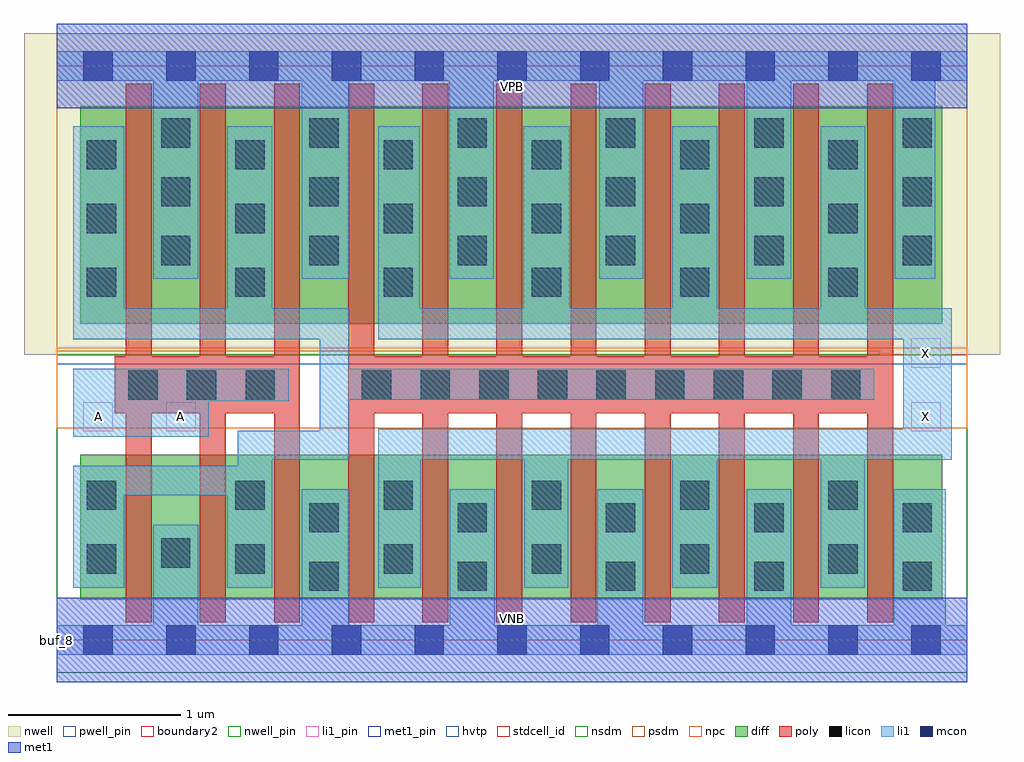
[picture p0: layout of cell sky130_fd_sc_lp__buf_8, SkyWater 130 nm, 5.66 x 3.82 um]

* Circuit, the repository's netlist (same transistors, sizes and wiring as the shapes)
* Copyright 2020 The SkyWater PDK Authors
*
* Licensed under the Apache License, Version 2.0 (the "License");
* you may not use this file except in compliance with the License.
* You may obtain a copy of the License at
*
*     https://www.apache.org/licenses/LICENSE-2.0
*
* Unless required by applicable law or agreed to in writing, software
* distributed under the License is distributed on an "AS IS" BASIS,
* WITHOUT WARRANTIES OR CONDITIONS OF ANY KIND, either express or implied.
* See the License for the specific language governing permissions and
* limitations under the License.
*
* SPDX-License-Identifier: Apache-2.0

.SUBCKT sky130_fd_sc_lp__buf_8 A VGND VNB VPB VPWR X
*.PININFO A:I VGND:I VNB:I VPB:I VPWR:I X:O
MMIN1 Ab A VGND VNB sky130_fd_pr__nfet_01v8 m=3 w=0.84U l=0.15U mult=1 sa=0.265
+ sb=0.265 sd=0.28 area=0.063 perim=1.14
MMIN2 X Ab VGND VNB sky130_fd_pr__nfet_01v8 m=8 w=0.84U l=0.15U mult=1 sa=0.265
+ sb=0.265 sd=0.28 area=0.063 perim=1.14
MMIP1 Ab A VPWR VPB sky130_fd_pr__pfet_01v8_hvt m=3 w=1.26U l=0.15U mult=1 sa=0.265
+ sb=0.265 sd=0.28 area=0.063 perim=1.14
MMIP2 X Ab VPWR VPB sky130_fd_pr__pfet_01v8_hvt m=8 w=1.26U l=0.15U mult=1 sa=0.265
+ sb=0.265 sd=0.28 area=0.063 perim=1.14
.ENDS sky130_fd_sc_lp__buf_8

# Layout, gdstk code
import gdstk
lib = gdstk.Library(unit=1e-6, precision=1e-09)
def R(c, l, rs):  # rectangles x0, y0, x1, y1
    for r in rs: c.add(gdstk.rectangle(r[:2], r[2:], *l))
def A(c, l, x, y, w, h, nx, ny, dx, dy):  # array of equal rectangles
    R(c, l, [(x+i*dx, y+j*dy, x+i*dx+w, y+j*dy+h) for i in range(nx) for j in range(ny)])
def P(c, l, *ps):  # polygons
    for p in ps: c.add(gdstk.Polygon(p, *l))
nwell_pin = (64, 16)
nwell = (64, 20)
diff = (65, 20)
poly = (66, 20)
licon = (66, 44)
li1_pin = (67, 16)
li1 = (67, 20)
mcon = (67, 44)
met1_pin = (68, 16)
met1 = (68, 20)
hvtp = (78, 44)
stdcell_id = (81, 4)
nsdm = (93, 44)
psdm = (94, 20)
npc = (95, 20)
pwell_pin = (122, 16)
boundary2 = (236, 0)

sky130_fd_sc_lp__buf_8 = lib.new_cell('sky130_fd_sc_lp__buf_8')
R(sky130_fd_sc_lp__buf_8, nwell_pin, [(0,3.085,5.28,3.33)])
R(sky130_fd_sc_lp__buf_8, nwell, [(-0.19,1.655,5.47,3.52)])
R(sky130_fd_sc_lp__buf_8, diff, [(0.135,0.235,5.135,1.075), (0.135,1.835,5.135,3.095)])
P(sky130_fd_sc_lp__buf_8, poly, [(1.41,3.225),(1.26,3.225),(1.26,1.645),(0.98,1.645),(0.98,3.225),(0.83,3.225),(0.83,1.645),(0.55,1.645),(0.55,3.225),(0.4,3.225),(0.4,1.645),(0.335,1.645),(0.335,1.315),(0.4,1.315),(0.4,0.105),(0.55,0.105),(0.55,1.315),(0.83,1.315),(0.83,0.105),(0.98,0.105),(0.98,1.315),(1.26,1.315),(1.26,0.105),(1.41,0.105)],
  [(4.85,3.225),(4.7,3.225),(4.7,1.645),(4.42,1.645),(4.42,3.225),(4.27,3.225),(4.27,1.645),(3.99,1.645),(3.99,3.225),(3.84,3.225),(3.84,1.645),(3.56,1.645),(3.56,3.225),(3.41,3.225),(3.41,1.645),(3.13,1.645),(3.13,3.225),(2.98,3.225),(2.98,1.645),(2.7,1.645),(2.7,3.225),(2.55,3.225),(2.55,1.645),(2.27,1.645),(2.27,3.225),(2.12,3.225),(2.12,1.645),(1.84,1.645),(1.84,3.225),(1.69,3.225),(1.69,0.105),(1.84,0.105),(1.84,1.315),(2.12,1.315),(2.12,0.105),(2.27,0.105),(2.27,1.315),(2.55,1.315),(2.55,0.105),(2.7,0.105),(2.7,1.315),(2.98,1.315),(2.98,0.105),(3.13,0.105),(3.13,1.315),(3.41,1.315),(3.41,0.105),(3.56,0.105),(3.56,1.315),(3.84,1.315),(3.84,0.105),(3.99,0.105),(3.99,1.315),(4.27,1.315),(4.27,0.105),(4.42,0.105),(4.42,1.315),(4.7,1.315),(4.7,0.105),(4.85,0.105)])
A(sky130_fd_sc_lp__buf_8, licon, 1.465, 0.285, 0.17, 0.17, 5, 2, 0.86, 0.34)
A(sky130_fd_sc_lp__buf_8, licon, 0.175, 0.385, 0.17, 0.17, 6, 2, 0.86, 0.37)
A(sky130_fd_sc_lp__buf_8, licon, 0.415, 1.395, 0.17, 0.17, 3, 1, 0.34, 0)
A(sky130_fd_sc_lp__buf_8, licon, 1.77, 1.395, 0.17, 0.17, 9, 1, 0.34, 0)
A(sky130_fd_sc_lp__buf_8, licon, 0.175, 1.99, 0.17, 0.17, 6, 3, 0.86, 0.37)
A(sky130_fd_sc_lp__buf_8, licon, 0.605, 2.175, 0.17, 0.17, 6, 3, 0.86, 0.34)
R(sky130_fd_sc_lp__buf_8, licon, [(0.605,0.42,0.775,0.59)])
R(sky130_fd_sc_lp__buf_8, li1_pin, [(0.155,1.21,0.325,1.38), (0.635,1.21,0.805,1.38), (4.955,1.21,5.125,1.38), (4.955,1.58,5.125,1.75)])
P(sky130_fd_sc_lp__buf_8, li1, [(0.56,2.095),(0.56,3.245),(0,3.245),(0,3.415),(5.28,3.415),(5.28,3.245),(5.095,3.245),(5.095,2.095),(4.86,2.095),(4.86,3.245),(4.26,3.245),(4.26,2.095),(4,2.095),(4,3.245),(3.4,3.245),(3.4,2.095),(3.145,2.095),(3.145,3.245),(2.535,3.245),(2.535,2.095),(2.275,2.095),(2.275,3.245),(1.695,3.245),(1.695,2.095),(1.42,2.095),(1.42,3.245),(0.82,3.245),(0.82,2.095)],
  [(3.135,0.085),(3.135,0.875),(3.4,0.875),(3.4,0.085),(4,0.085),(4,0.875),(4.26,0.875),(4.26,0.085),(4.855,0.085),(4.855,0.875),(5.155,0.875),(5.155,0.085),(5.28,0.085),(5.28,-0.085),(0,-0.085),(0,0.085),(0.56,0.085),(0.56,0.67),(0.82,0.67),(0.82,0.085),(1.42,0.085),(1.42,0.875),(1.695,0.875),(1.695,0.085),(2.28,0.085),(2.28,0.875),(2.54,0.875),(2.54,0.085)],
  [(1.525,1.745),(0.095,1.745),(0.095,2.98),(0.39,2.98),(0.39,1.925),(0.99,1.925),(0.99,2.98),(1.25,2.98),(1.25,1.925),(1.695,1.925),(1.695,1.575),(4.74,1.575),(4.74,1.395),(1.695,1.395),(1.695,1.045),(1.25,1.045),(1.25,0.305),(0.99,0.305),(0.99,0.84),(0.39,0.84),(0.39,0.305),(0.095,0.305),(0.095,1.01),(1.05,1.01),(1.05,1.215),(1.525,1.215)],
  [(0.095,1.575),(1.345,1.575),(1.345,1.385),(0.88,1.385),(0.88,1.18),(0.095,1.18)],
  [(4.69,1.925),(5.19,1.925),(5.19,1.045),(4.685,1.045),(4.685,0.305),(4.43,0.305),(4.43,1.045),(3.83,1.045),(3.83,0.305),(3.57,0.305),(3.57,1.045),(2.965,1.045),(2.965,0.305),(2.71,0.305),(2.71,1.045),(2.11,1.045),(2.11,0.305),(1.865,0.305),(1.865,1.225),(4.91,1.225),(4.91,1.745),(1.865,1.745),(1.865,2.98),(2.105,2.98),(2.105,1.925),(2.705,1.925),(2.705,2.98),(2.975,2.98),(2.975,1.925),(3.57,1.925),(3.57,2.98),(3.83,2.98),(3.83,1.925),(4.43,1.925),(4.43,2.98),(4.69,2.98)])
A(sky130_fd_sc_lp__buf_8, mcon, 0.155, -0.085, 0.17, 0.17, 11, 2, 0.48, 3.33)
R(sky130_fd_sc_lp__buf_8, met1_pin, [(0,0,5.28,0.245), (0,3.085,5.28,3.33)])
R(sky130_fd_sc_lp__buf_8, met1, [(0,-0.245,5.28,0.245), (0,3.085,5.28,3.575)])
R(sky130_fd_sc_lp__buf_8, hvtp, [(0,1.6,5.28,3.33)])
R(sky130_fd_sc_lp__buf_8, stdcell_id, [(0,0,5.28,3.33)])
R(sky130_fd_sc_lp__buf_8, nsdm, [(0,-0.19,5.28,1.655)])
P(sky130_fd_sc_lp__buf_8, psdm, [(5.28,3.52),(0,3.52),(0,1.675),(4.77,1.675),(4.77,1.655),(5.28,1.655)])
R(sky130_fd_sc_lp__buf_8, npc, [(0,1.23,5.28,1.695)])
R(sky130_fd_sc_lp__buf_8, pwell_pin, [(0,0,5.28,0.245)])
R(sky130_fd_sc_lp__buf_8, boundary2, [(0,0,5.28,3.33)])
sky130_fd_sc_lp__buf_8.add(gdstk.Label('VNB', (2.64,0.123), layer=64, texttype=59))
sky130_fd_sc_lp__buf_8.add(gdstk.Label('VPB', (2.64,3.208), layer=64, texttype=5))
sky130_fd_sc_lp__buf_8.add(gdstk.Label('buf_8', (0,0), layer=83, texttype=44))
sky130_fd_sc_lp__buf_8.add(gdstk.Label('VPWR', (2.64,3.208), layer=68, texttype=5))
sky130_fd_sc_lp__buf_8.add(gdstk.Label('VGND', (2.64,0.123), layer=68, texttype=5))
sky130_fd_sc_lp__buf_8.add(gdstk.Label('A', (0.24,1.295), layer=67, texttype=5))
sky130_fd_sc_lp__buf_8.add(gdstk.Label('A', (0.72,1.295), layer=67, texttype=5))
sky130_fd_sc_lp__buf_8.add(gdstk.Label('X', (5.04,1.295), layer=67, texttype=5))
sky130_fd_sc_lp__buf_8.add(gdstk.Label('X', (5.04,1.665), layer=67, texttype=5))

lib.write_gds('sky130_fd_sc_lp__buf_8.gds')
